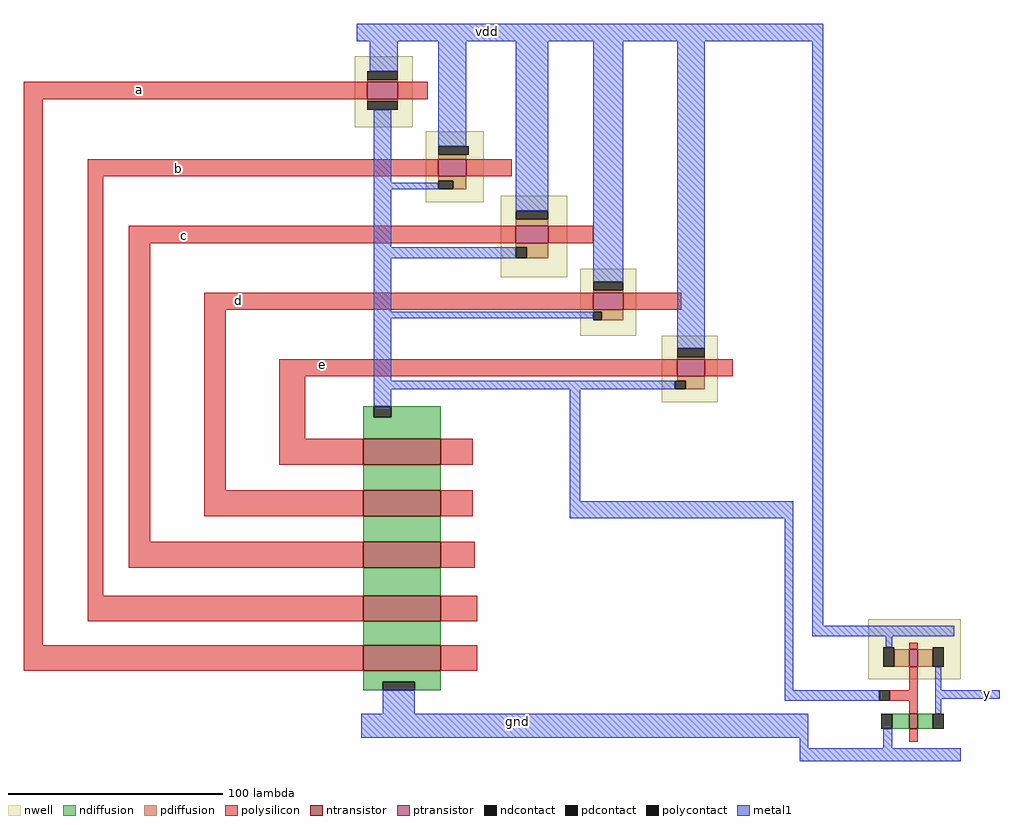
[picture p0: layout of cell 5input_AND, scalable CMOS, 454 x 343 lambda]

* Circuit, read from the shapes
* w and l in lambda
.subckt 5input_AND a b c d e gnd vdd y
M1 n1 a gnd VSUBS nfet w=36 l=12
M2 n2 b n1 VSUBS nfet w=36 l=12
M3 n3 c n2 VSUBS nfet w=36 l=12
M4 n4 d n3 VSUBS nfet w=36 l=12
M5 not_0/in e n4 VSUBS nfet w=36 l=12
M6 y not_0/in gnd VSUBS nfet w=7 l=4
M7 vdd a not_0/in n5 pfet w=14 l=8
M8 vdd b not_0/in n6 pfet w=13 l=8
M9 vdd c not_0/in n7 pfet w=15 l=8
M10 vdd d not_0/in n8 pfet w=14 l=8
M11 vdd e not_0/in n9 pfet w=13 l=8
M12 y not_0/in vdd n10 pfet w=8 l=4
.ends

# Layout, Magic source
magic
tech scmos
<< nwell >>
rect -37 15 -10 48
rect -4 -20 23 13
rect 31 -55 62 -17
rect 68 -82 94 -51
rect 106 -113 132 -82
<< ntransistor >>
rect -33 -142 3 -130
rect -33 -166 3 -154
rect -33 -190 3 -178
rect -33 -215 3 -203
rect -33 -238 3 -226
<< ptransistor >>
rect -31 28 -17 36
rect 2 -8 15 0
rect 38 -39 53 -31
rect 74 -70 88 -62
rect 113 -101 126 -93
<< ndiffusion >>
rect -33 -120 -28 -115
rect -20 -120 3 -115
rect -33 -130 3 -120
rect -33 -154 3 -142
rect -33 -178 3 -166
rect -33 -203 3 -190
rect -33 -226 3 -215
rect -33 -243 3 -238
rect -33 -247 -24 -243
rect -9 -247 3 -243
<< pdiffusion >>
rect -31 36 -17 37
rect -31 27 -17 28
rect 2 0 15 2
rect 2 -10 15 -8
rect 9 -14 15 -10
rect 38 -31 53 -28
rect 38 -41 53 -39
rect 43 -46 53 -41
rect 74 -62 88 -61
rect 74 -71 88 -70
rect 78 -75 88 -71
rect 113 -93 126 -92
rect 113 -103 126 -101
rect 117 -107 126 -103
<< ndcontact >>
rect -28 -120 -20 -115
rect -24 -247 -9 -243
<< pdcontact >>
rect -31 37 -17 41
rect -31 23 -17 27
rect 2 2 16 6
rect 2 -14 9 -10
rect 38 -28 53 -24
rect 38 -46 43 -41
rect 74 -61 88 -57
rect 74 -75 78 -71
rect 113 -92 126 -88
rect 112 -107 117 -103
<< polysilicon >>
rect -191 28 -31 36
rect -17 28 -3 36
rect -191 -226 -182 28
rect -161 -8 2 0
rect 15 -8 36 0
rect -161 -203 -154 -8
rect -142 -39 38 -31
rect 53 -39 74 -31
rect -142 -178 -132 -39
rect -107 -70 74 -62
rect 88 -70 115 -62
rect -107 -154 -97 -70
rect -72 -101 113 -93
rect 126 -101 139 -93
rect -72 -130 -60 -101
rect -72 -142 -33 -130
rect 3 -142 18 -130
rect -107 -166 -33 -154
rect 3 -166 18 -154
rect -142 -190 -33 -178
rect 3 -190 19 -178
rect -161 -215 -33 -203
rect 3 -215 20 -203
rect -191 -238 -33 -226
rect 3 -238 20 -226
<< metal1 >>
rect -36 55 181 63
rect -30 41 -17 55
rect -28 -11 -20 23
rect 2 6 15 55
rect -28 -14 2 -11
rect -28 -41 -20 -14
rect 38 -24 53 55
rect -28 -46 38 -41
rect -28 -71 -20 -46
rect 74 -57 88 55
rect -28 -74 74 -71
rect -28 -103 -20 -74
rect 113 -88 126 55
rect -28 -107 112 -103
rect -28 -115 -20 -107
rect 63 -159 68 -107
rect 63 -167 167 -159
rect -24 -258 -9 -247
rect 163 -247 167 -167
rect 176 -217 181 55
rect 176 -222 204 -217
rect 163 -252 197 -247
rect 233 -251 263 -247
rect -34 -269 174 -258
rect 170 -274 174 -269
rect 170 -280 202 -274
use not  not_0
transform 1 0 204 0 1 -252
box -7 -28 41 38
<< labels >>
rlabel polysilicon -137 32 -137 33 1 a
rlabel polysilicon -119 -5 -119 -4 1 b
rlabel polysilicon -116 -36 -116 -35 1 c
rlabel polysilicon -91 -66 -91 -65 1 d
rlabel polysilicon -52 -96 -52 -95 1 e
rlabel metal1 23 59 27 60 5 vdd
rlabel metal1 37 -262 41 -261 1 gnd
rlabel metal1 257 -249 258 -248 1 y
<< end >>

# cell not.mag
magic
tech scmos
<< nwell >>
rect -2 10 41 38
<< ntransistor >>
rect 17 -13 21 -6
<< ptransistor >>
rect 17 16 21 24
<< ndiffusion >>
rect 9 -13 17 -6
rect 21 -13 28 -6
<< pdiffusion >>
rect 10 16 17 24
rect 21 16 28 24
<< ndcontact >>
rect 4 -13 9 -6
rect 28 -13 33 -6
<< pdcontact >>
rect 5 16 10 25
rect 28 16 33 25
<< polysilicon >>
rect 17 24 21 27
rect 17 5 21 16
rect 8 0 21 5
rect 17 -6 21 0
rect 17 -19 21 -13
<< polycontact >>
rect 3 0 8 5
<< metal1 >>
rect 0 30 38 35
rect 6 25 9 30
rect -7 0 3 5
rect 29 4 32 16
rect 29 1 37 4
rect 29 -6 32 1
rect 5 -22 9 -13
rect -2 -28 41 -22
<< labels >>
rlabel metal1 16 31 21 33 1 vdd
rlabel metal1 29 1 37 4 1 out
rlabel metal1 -6 1 2 4 3 in
rlabel metal1 17 -27 25 -24 1 gnd
<< end >>
